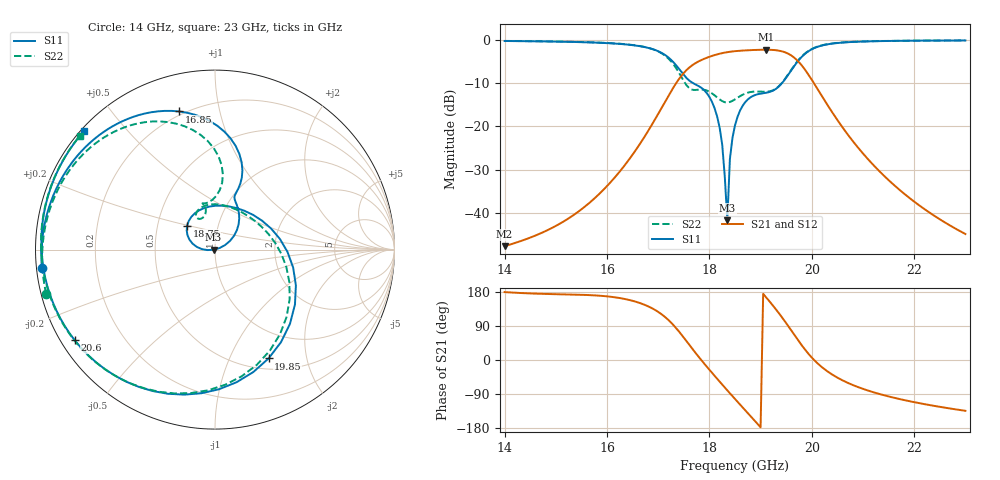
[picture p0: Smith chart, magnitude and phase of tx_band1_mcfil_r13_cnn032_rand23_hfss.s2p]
! Touchstone file exported from HFSS 3D Layout Design 2026.1.0
!  File:  D:/Work/SIM/ADS_AUTO_SIM/projects/RFSOC_RF/TX_Fillter.aedt
!  Generated:  12:38:11 AM Aug 31, 2026
!  Design:  TX_BAND1_MCFIL_R13_CNN032
!  Project:  TX_Fillter
# GHz S MA R 50.000000
! Terminal data exported
! Port[1] = Port1
! Port[2] = Port2
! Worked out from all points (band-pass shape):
!   181 points, 14 GHz to 23 GHz, reference 50 ohm
!   highest |S21| = -2.28 dB at 19.1 GHz (marker M1); lowest = -47.7 dB at 14 GHz (marker M2)
!   |S21| within 3 dB of the highest: 17.74 GHz to 19.76 GHz (2.015 GHz wide, 10.7 % of centre)
!   lowest |S11| = -41.7 dB at 18.35 GHz (marker M3), VSWR 1.02, Z = 49.2 - j0.0923 ohm
!   |S11| at or under -10 dB: 17.68 GHz to 19.42 GHz (1.735 GHz wide, 9.35 % of centre)
!   |S22| runs from -14.5 to -0.1 dB; largest |S21 - S12| = 6.5e-14
!   S11 on the Smith chart (normalised r, x): 14 GHz: 0.02, -0.05; 16.85 GHz: 0.18, +0.76; 18.75 GHz: 0.71, +0.20; 19.85 GHz: 0.63, -1.41; 20.6 GHz: 0.04, -0.29; 23 GHz: 0.01, +0.39
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14  0.9703 -173.9  0.004136 179.2  0.004136 179.2  0.9723 -165.3
15.5  0.9409 154.1  0.01102 172.1  0.01102 172.1  0.9443 164.0
16.25  0.8979 131.5  0.03017 163.5  0.03017 163.5  0.9021 142.3
16.85  0.7948 104.5  0.09849 138.6  0.09849 138.6  0.795 116.1
17  0.7391 95.4  0.1398 126.9  0.1398 126.9  0.7347 107.2
17.3  0.5495 75.7  0.2838 91.8  0.2838 91.8  0.5196 87.8
17.55  0.3638 69.1  0.4457 50.2  0.4457 50.2  0.3009 88.4
17.8  0.2902 66.8  0.5684 6.7  0.5684 6.7  0.2663 104.9
18.05  0.1925 46.9  0.6525 -33.7  0.6525 -33.7  0.2411 102.8
18.25  0.06182 24.2  0.7028 -64.8  0.7028 -64.8  0.196 107.8
18.35  0.008261 -173.5  0.7211 -80.2  0.7211 -80.2  0.189 114.1
18.4  0.0418 -176.2  0.7285 -87.8  0.7285 -87.8  0.1916 116.9
18.5  0.1029 171.5  0.7403 -102.9  0.7403 -102.9  0.2055 119.8
18.75  0.205 139.2  0.7581 -140.1  0.7581 -140.1  0.2453 109.5
19.1  0.2444 89.3  0.7695 166.7  0.7695 166.7  0.2514 69.6
19.5  0.3663 9.4  0.7095 97.2  0.7095 97.2  0.3705 -3.7
19.7  0.5403 -34.4  0.5916 58.4  0.5916 58.4  0.5471 -43.2
19.85  0.676 -63.8  0.467 30.6  0.467 30.6  0.683 -70.1
20  0.7786 -88.4  0.3457 6.5  0.3457 6.5  0.785 -92.9
20.6  0.9306 -147.1  0.09749 -53.7  0.09749 -53.7  0.9339 -148.0
21.5  0.9712 173.2  0.02397 -96.1  0.02397 -96.1  0.9725 174.1
23  0.984 137.8  0.005716 -134.1  0.005716 -134.1  0.9842 139.8
